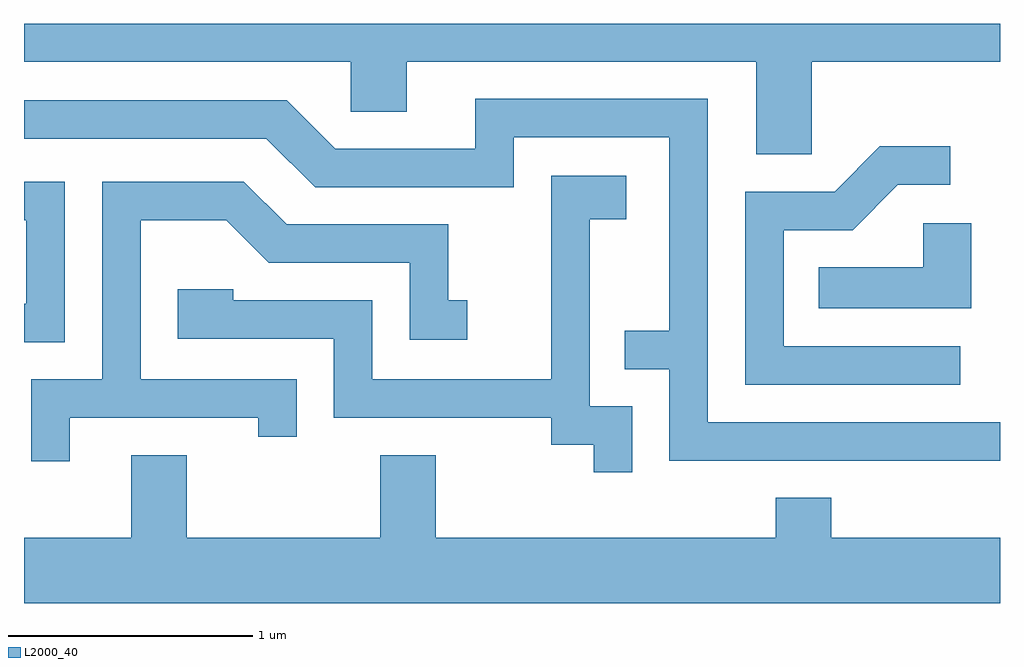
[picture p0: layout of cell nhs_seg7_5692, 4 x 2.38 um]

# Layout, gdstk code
import gdstk
lib = gdstk.Library(unit=1e-6, precision=1e-09)
def P(c, l, *ps):  # polygons
    for p in ps: c.add(gdstk.Polygon(p, *l))
L2000_40 = (2000, 40)

nhs_seg7_5692 = lib.new_cell('nhs_seg7_5692')
P(nhs_seg7_5692, L2000_40, [(362.839,1712.096),(363.611,1712.096),(363.611,1712.252),(359.611,1712.252),(359.611,1712.096),(360.951,1712.096),(360.951,1711.891),(361.179,1711.891),(361.179,1712.096),(362.611,1712.096),(362.611,1711.716),(362.839,1711.716)],
  [(363.611,1710.619),(362.414,1710.619),(362.414,1711.944),(361.461,1711.944),(361.461,1711.739),(360.887,1711.739),(360.687,1711.939),(359.611,1711.939),(359.611,1711.781),(360.604,1711.781),(360.804,1711.581),(361.619,1711.581),(361.619,1711.786),(362.256,1711.786),(362.256,1710.994),(362.073,1710.994),(362.073,1710.836),(362.256,1710.836),(362.256,1710.461),(363.611,1710.461)],
  [(363.448,1710.929),(362.724,1710.929),(362.724,1711.406),(363.007,1711.406),(363.192,1711.591),(363.408,1711.591),(363.408,1711.749),(363.119,1711.749),(362.934,1711.564),(362.566,1711.564),(362.566,1710.771),(363.448,1710.771)],
  [(362.104,1710.684),(361.929,1710.684),(361.929,1711.451),(362.079,1711.451),(362.079,1711.629),(361.771,1711.629),(361.771,1710.794),(361.039,1710.794),(361.039,1711.119),(360.469,1711.119),(360.469,1711.164),(360.241,1711.164),(360.241,1710.961),(360.881,1710.961),(360.881,1710.636),(361.771,1710.636),(361.771,1710.526),(361.946,1710.526),(361.946,1710.413),(362.104,1710.413)],
  [(359.799,1710.636),(360.571,1710.636),(360.571,1710.558),(360.729,1710.558),(360.729,1710.794),(360.089,1710.794),(360.089,1711.446),(360.439,1711.446),(360.614,1711.271),(361.191,1711.271),(361.191,1710.956),(361.428,1710.956),(361.428,1711.119),(361.349,1711.119),(361.349,1711.429),(360.687,1711.429),(360.512,1711.604),(359.931,1711.604),(359.931,1710.794),(359.641,1710.794),(359.641,1710.458),(359.799,1710.458)],
  [(359.779,1711.604),(359.611,1711.604),(359.611,1711.446),(359.621,1711.446),(359.621,1711.104),(359.611,1711.104),(359.611,1710.946),(359.779,1710.946)],
  [(363.494,1711.434),(363.296,1711.434),(363.296,1711.254),(362.868,1711.254),(362.868,1711.086),(363.494,1711.086)],
  [(363.611,1710.144),(362.919,1710.144),(362.919,1710.309),(362.691,1710.309),(362.691,1710.144),(361.299,1710.144),(361.299,1710.484),(361.071,1710.484),(361.071,1710.144),(360.279,1710.144),(360.279,1710.484),(360.051,1710.484),(360.051,1710.144),(359.611,1710.144),(359.611,1709.876),(363.611,1709.876)])

lib.write_gds('nhs_seg7_5692.gds')
